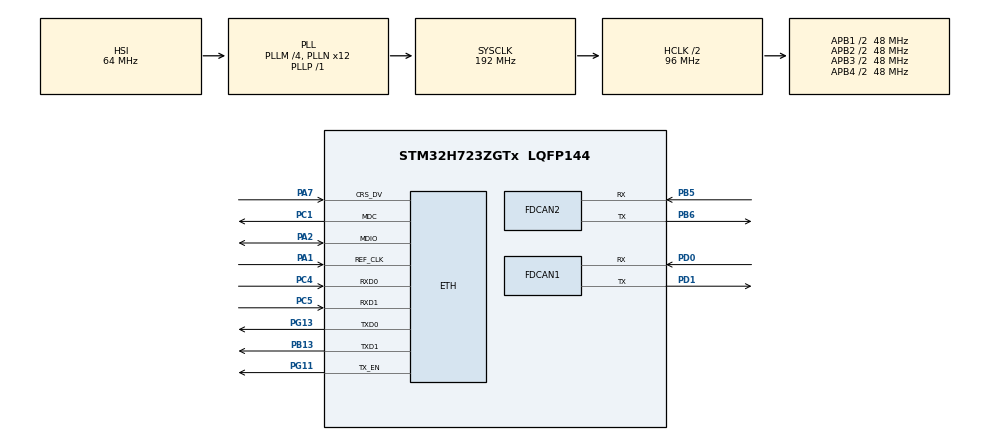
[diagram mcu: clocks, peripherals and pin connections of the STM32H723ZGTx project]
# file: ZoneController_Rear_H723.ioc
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CORTEX_M7.default_mode_Activation=1
ETH.MediaInterface=HAL_ETH_RMII_MODE
FDCAN1.AutoRetransmission=ENABLE
FDCAN1.CalculateBaudRateNominal=500000
FDCAN1.CalculateTimeBitNominal=2000
FDCAN1.CalculateTimeQuantumNominal=125.0
FDCAN1.DataPrescaler=10
FDCAN1.DataSyncJumpWidth=2
FDCAN1.DataTimeSeg1=13
FDCAN1.DataTimeSeg2=2
FDCAN1.Mode=FDCAN_MODE_NORMAL
FDCAN1.NominalPrescaler=6
FDCAN1.NominalSyncJumpWidth=2
FDCAN1.NominalTimeSeg1=13
FDCAN1.NominalTimeSeg2=2
FDCAN1.RxFifo0ElmtsNbr=8
FDCAN1.StdFiltersNbr=1
FDCAN1.TxFifoQueueElmtsNbr=8
FDCAN2.AutoRetransmission=ENABLE
FDCAN2.CalculateBaudRateNominal=250000
FDCAN2.CalculateTimeBitNominal=4000
FDCAN2.CalculateTimeQuantumNominal=250.0
FDCAN2.DataTimeSeg1=1
FDCAN2.MessageRAMOffset=128
FDCAN2.Mode=FDCAN_MODE_NORMAL
FDCAN2.NominalPrescaler=12
FDCAN2.NominalSyncJumpWidth=2
FDCAN2.NominalTimeSeg1=13
FDCAN2.NominalTimeSeg2=2
FDCAN2.RxFifo0ElmtsNbr=8
FDCAN2.StdFiltersNbr=1
FDCAN2.TxFifoQueueElmtsNbr=8
LWIP.BSP.number=1
LWIP.GATEWAY_ADDRESS=192.168.010.001
LWIP.IP_ADDRESS=192.168.010.020
LWIP.LWIP_DHCP=0
LWIP.NETMASK_ADDRESS=255.255.255.000
LWIP.Version=v2.2.1_Cube
LWIP0.BSP.STBoard=false
LWIP0.BSP.api=BSP_COMPONENT_DRIVER
LWIP0.BSP.component=LAN8742
LWIP0.BSP.instance=LAN8742
LWIP0.BSP.name=Driver_PHY
LWIP0.BSP.semaphore=S_LAN8742
LWIP0.BSP.solution=LAN8742
Mcu.Family=STM32H7
Mcu.Name=STM32H723ZGTx
Mcu.Package=LQFP144
NVIC.FDCAN1_IT0_IRQn=true\:0\:0\:false\:false\:true\:true\:true\:true
NVIC.FDCAN2_IT0_IRQn=true\:0\:0\:false\:false\:true\:true\:true\:true
NVIC.PriorityGroup=NVIC_PRIORITYGROUP_4
PA1.Mode=RMII
PA1.Signal=ETH_REF_CLK
PA13(JTMS/SWDIO).GPIO_Label=SWDIO
PA13(JTMS/SWDIO).Signal=DEBUG_JTMS-SWDIO
PA14(JTCK/SWCLK).GPIO_Label=SWCLK
PA14(JTCK/SWCLK).Signal=DEBUG_JTCK-SWCLK
PA2.Mode=RMII
PA2.Signal=ETH_MDIO
PA7.Mode=RMII
PA7.Signal=ETH_CRS_DV
PB13.Mode=RMII
PB13.Signal=ETH_TXD1
PB5.Mode=FDCAN_Activate
PB5.Signal=FDCAN2_RX
PB6.Mode=FDCAN_Activate
PB6.Signal=FDCAN2_TX
PC1.Mode=RMII
PC1.Signal=ETH_MDC
PC14-OSC32_IN.Signal=RCC_OSC32_IN
PC15-OSC32_OUT.Signal=RCC_OSC32_OUT
PC4.Mode=RMII
PC4.Signal=ETH_RXD0
PC5.Mode=RMII
PC5.Signal=ETH_RXD1
PD0.Mode=FDCAN_Activate
PD0.Signal=FDCAN1_RX
PD1.Mode=FDCAN_Activate
PD1.Signal=FDCAN1_TX
PD8.GPIO_Label=STLK_VCP_RX
PD8.Signal=USART3_TX
PD9.GPIO_Label=STLK_VCP_TX
PD9.Signal=USART3_RX
PG11.Mode=RMII
PG11.Signal=ETH_TX_EN
PG13.Mode=RMII
PG13.Signal=ETH_TXD0
ProjectManager.HeapSize=0x200
ProjectManager.StackSize=0x400
ProjectManager.TargetToolchain=STM32CubeIDE
RCC.ADCFreq_Value=608000000
RCC.APB1Freq_Value=48000000
RCC.APB2Freq_Value=48000000
RCC.APB3Freq_Value=48000000
RCC.APB4Freq_Value=48000000
RCC.CortexFreq_Value=192000000
RCC.D1PPRE=RCC_APB3_DIV2
RCC.D2PPRE1=RCC_APB1_DIV2
RCC.D2PPRE2=RCC_APB2_DIV2
RCC.D3PPRE=RCC_APB4_DIV2
RCC.DIVM1=4
RCC.DIVM2=1
RCC.DIVN1=12
RCC.DIVN2=19
RCC.DIVP1=1
RCC.DIVQ1=4
RCC.HCLKFreq_Value=96000000
RCC.HPRE=RCC_HCLK_DIV2
RCC.HSE_VALUE=8000000
RCC.PLLFRACN=0
RCC.SYSCLKFreq_VALUE=192000000
RCC.SYSCLKSource=RCC_SYSCLKSOURCE_PLLCLK
RCC.USBCLockSelection=RCC_USBCLKSOURCE_HSI48
RCC.USBFreq_Value=48000000
VP_LWIP_VS_Enabled.Mode=Enabled
VP_MEMORYMAP_VS_MEMORYMAP.Mode=CurAppReg
board=NUCLEO-H723ZG

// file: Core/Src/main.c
/* USER CODE BEGIN Header */
/**
  ******************************************************************************
  * @file           : main.c
  * @brief          : Main program body
  ******************************************************************************
  * @attention
  *
  * Copyright (c) 2026 STMicroelectronics.
  * All rights reserved.
  *
  * This software is licensed under terms that can be found in the LICENSE file
  * in the root directory of this software component.
  * If no LICENSE file comes with this software, it is provided AS-IS.
  *
  ******************************************************************************
  */
/* USER CODE END Header */
#include "main.h"
#include "fdcan.h"
#include "lwip.h"
#include "gpio.h"

/* USER CODE BEGIN PV */

/* -------------------------------------------------------------------------- */
/* FDCAN1: Classical CAN 500 kbps                                              */
/* H723 -> F446/PCAN: ID 0x101                                                 */
/* F446 echo response expected: ID 0x181                                       */
/* -------------------------------------------------------------------------- */
static FDCAN_TxHeaderTypeDef can500_tx_header;
static FDCAN_RxHeaderTypeDef can500_rx_header;
static uint8_t can500_tx_data[8];
static uint8_t can500_rx_data[8];

volatile uint32_t can500_next_counter = 0;
volatile uint32_t can500_last_sent_counter = 0;
volatile uint32_t can500_last_received_counter = 0;

volatile uint32_t can500_tx_count = 0;
volatile uint32_t can500_rx_count = 0;
volatile uint32_t can500_rx_ok_count = 0;
volatile uint32_t can500_rx_bad_count = 0;
volatile uint32_t can500_tx_busy_count = 0;
volatile uint32_t can500_tx_error_count = 0;
volatile uint32_t can500_last_error = 0;
volatile uint32_t can500_tx_fifo_free = 0;

volatile FDCAN_ErrorCountersTypeDef can500_error_counters;
volatile FDCAN_ProtocolStatusTypeDef can500_protocol_status;

static uint32_t can500_last_tx_tick = 0;

/* -------------------------------------------------------------------------- */
/* FDCAN2: Classical CAN 250 kbps                                              */
/* H723 -> F407/PCAN: ID 0x201                                                 */
/* F407 echo response expected: ID 0x281                                       */
/* -------------------------------------------------------------------------- */
static FDCAN_TxHeaderTypeDef can250_tx_header;
static FDCAN_RxHeaderTypeDef can250_rx_header;
static uint8_t can250_tx_data[8];
static uint8_t can250_rx_data[8];

volatile uint32_t can250_next_counter = 0;
volatile uint32_t can250_last_sent_counter = 0;
volatile uint32_t can250_last_received_counter = 0;

volatile uint32_t can250_tx_count = 0;
volatile uint32_t can250_rx_count = 0;
volatile uint32_t can250_rx_ok_count = 0;
volatile uint32_t can250_rx_bad_count = 0;
volatile uint32_t can250_tx_busy_count = 0;
volatile uint32_t can250_tx_error_count = 0;
volatile uint32_t can250_last_error = 0;
volatile uint32_t can250_tx_fifo_free = 0;

volatile FDCAN_ErrorCountersTypeDef can250_error_counters;
volatile FDCAN_ProtocolStatusTypeDef can250_protocol_status;

static uint32_t can250_last_tx_tick = 0;

/* -------------------------------------------------------------------------- */
/* H723 -> F446RE LED command over FDCAN2                                      */
/* Standard ID 0x310                                                          */
/* DATA[0] = left command, DATA[1] = right command, DATA[2] = brake command    */
/* -------------------------------------------------------------------------- */
static FDCAN_TxHeaderTypeDef led_cmd_tx_header;
static uint8_t led_cmd_tx_data[8];

volatile uint8_t led_auto_test_enable = 1U;
volatile uint8_t led_test_step = 1U;
volatile uint8_t led_left_command = 1U;
volatile uint8_t led_right_command = 0U;
volatile uint8_t led_brake_command = 0U;

volatile uint32_t led_cmd_tx_count = 0U;
volatile uint32_t led_cmd_tx_busy_count = 0U;
volatile uint32_t led_cmd_tx_error_count = 0U;
volatile uint32_t led_cmd_last_error = 0U;

static uint32_t led_cmd_last_tx_tick = 0U;
static uint32_t led_test_last_step_tick = 0U;

/* USER CODE END PV */

void SystemClock_Config(void);
static void MPU_Config(void);
/* USER CODE BEGIN PFP */
static void CAN500_Start(void);
static void CAN500_SendPing(void);

static void CAN250_Start(void);
static void CAN250_SendPing(void);

static void LED_CommandSetStep(uint8_t step);
static void LED_CommandSend(void);
static void LED_CommandUpdate(void);

static void CAN_UpdateDiagnostics(void);

static void CAN_WriteU32LE(uint8_t *data, uint32_t value);
static uint32_t CAN_ReadU32LE(const uint8_t *data);
static void EthernetMPU_Config(void);
/* USER CODE END PFP */

/* USER CODE BEGIN 0 */

#define CAN500_TX_PERIOD_MS       500U
#define CAN250_TX_PERIOD_MS       500U
#define CAN_TX_PHASE_OFFSET_MS    250U

#define LED_CMD_ID                0x310U
#define LED_CMD_TX_PERIOD_MS      100U
#define LED_TEST_STEP_PERIOD_MS   3000U
#define LED_TEST_STEP_COUNT       5U

/**
 * @brief Ethernet DMA와 LwIP 메모리가 위치하는 RAM_D2 전체를
 *        Normal, Shareable, Non-cacheable 영역으로 설정한다.
 *
 * RAM_D2:
 *   0x30000000 ~ 0x30007FFF (32 KB)
 *
 * CubeMX가 생성한 MPU Region 0은 그대로 두고 Region 1만 추가한다.
 */
static void EthernetMPU_Config(void)
{
    MPU_Region_InitTypeDef MPU_InitStruct = {0};

    HAL_MPU_Disable();

    MPU_InitStruct.Enable = MPU_REGION_ENABLE;
    MPU_InitStruct.Number = MPU_REGION_NUMBER1;
    MPU_InitStruct.BaseAddress = 0x30000000U;
    MPU_InitStruct.Size = MPU_REGION_SIZE_32KB;
    MPU_InitStruct.SubRegionDisable = 0x00U;
    MPU_InitStruct.TypeExtField = MPU_TEX_LEVEL1;
    MPU_InitStruct.AccessPermission = MPU_REGION_FULL_ACCESS;
    MPU_InitStruct.DisableExec = MPU_INSTRUCTION_ACCESS_DISABLE;
    MPU_InitStruct.IsShareable = MPU_ACCESS_SHAREABLE;
    MPU_InitStruct.IsCacheable = MPU_ACCESS_NOT_CACHEABLE;
    MPU_InitStruct.IsBufferable = MPU_ACCESS_NOT_BUFFERABLE;

    HAL_MPU_ConfigRegion(&MPU_InitStruct);
    HAL_MPU_Enable(MPU_PRIVILEGED_DEFAULT);
}

/**
 * @brief uint32_t 값을 Little Endian 형식으로 4바이트에 저장
 */
static void CAN_WriteU32LE(uint8_t *data, uint32_t value)
{
    data[0] = (uint8_t)(value & 0xFFU);
    data[1] = (uint8_t)((value >> 8) & 0xFFU);
    data[2] = (uint8_t)((value >> 16) & 0xFFU);
    data[3] = (uint8_t)((value >> 24) & 0xFFU);
}

/**
 * @brief Little Endian 형식의 4바이트를 uint32_t로 변환
 */
static uint32_t CAN_ReadU32LE(const uint8_t *data)
{
    return ((uint32_t)data[0]) |
           ((uint32_t)data[1] << 8) |
           ((uint32_t)data[2] << 16) |
           ((uint32_t)data[3] << 24);
}

/**
 * @brief FDCAN1 Classical CAN 500 kbps 시작
 *
 * 송신:
 *   Standard ID 0x101
 *   A5 5A 01 01 + 32-bit counter
 *
 * 수신:
 *   Standard ID 0x181
 *   5A A5 01 02 + same counter
 */
static void CAN500_Start(void)
{
    FDCAN_FilterTypeDef filter = {0};

    filter.IdType = FDCAN_STANDARD_ID;
    filter.FilterIndex = 0;
    filter.FilterType = FDCAN_FILTER_MASK;
    filter.FilterConfig = FDCAN_FILTER_TO_RXFIFO0;
    filter.FilterID1 = 0x181;
    filter.FilterID2 = 0x7FF;

    if (HAL_FDCAN_ConfigFilter(&hfdcan1, &filter) != HAL_OK)
    {
        Error_Handler();
    }

    if (HAL_FDCAN_ConfigGlobalFilter(
            &hfdcan1,
            FDCAN_REJECT,
            FDCAN_REJECT,
            FDCAN_REJECT_REMOTE,
            FDCAN_REJECT_REMOTE) != HAL_OK)
    {
        Error_Handler();
    }

    if (HAL_FDCAN_ActivateNotification(
            &hfdcan1,
            FDCAN_IT_RX_FIFO0_NEW_MESSAGE,
            0U) != HAL_OK)
    {
        Error_Handler();
    }

    if (HAL_FDCAN_Start(&hfdcan1) != HAL_OK)
    {
        Error_Handler();
    }

    can500_tx_header.Identifier = 0x101;
    can500_tx_header.IdType = FDCAN_STANDARD_ID;
    can500_tx_header.TxFrameType = FDCAN_DATA_FRAME;
    can500_tx_header.DataLength = FDCAN_DLC_BYTES_8;
    can500_tx_header.ErrorStateIndicator = FDCAN_ESI_ACTIVE;
    can500_tx_header.BitRateSwitch = FDCAN_BRS_OFF;
    can500_tx_header.FDFormat = FDCAN_CLASSIC_CAN;
    can500_tx_header.TxEventFifoControl = FDCAN_NO_TX_EVENTS;
    can500_tx_header.MessageMarker = 0U;
}

/**
 * @brief FDCAN1 500 kbps Ping 송신
 */
static void CAN500_SendPing(void)
{
    uint32_t counter;

    can500_tx_fifo_free = HAL_FDCAN_GetTxFifoFreeLevel(&hfdcan1);

    if (can500_tx_fifo_free == 0U)
    {
        can500_tx_busy_count++;
        can500_last_error = HAL_FDCAN_GetError(&hfdcan1);
        return;
    }

    counter = can500_next_counter++;

    can500_tx_data[0] = 0xA5;
    can500_tx_data[1] = 0x5A;
    can500_tx_data[2] = 0x01;
    can500_tx_data[3] = 0x01;
    CAN_WriteU32LE(&can500_tx_data[4], counter);

    if (HAL_FDCAN_AddMessageToTxFifoQ(
            &hfdcan1,
            &can500_tx_header,
            can500_tx_data) == HAL_OK)
    {
        can500_last_sent_counter = counter;
        can500_tx_count++;
    }
    else
    {
        can500_tx_error_count++;
        can500_last_error = HAL_FDCAN_GetError(&hfdcan1);
    }
}

/**
 * @brief FDCAN2 Classical CAN 250 kbps 시작
 *
 * 송신:
 *   Standard ID 0x201
 *   A5 5A 02 01 + 32-bit counter
 *
 * 수신:
 *   Standard ID 0x281
 *   5A A5 02 02 + same counter
 */
static void CAN250_Start(void)
{
    FDCAN_FilterTypeDef filter = {0};

    filter.IdType = FDCAN_STANDARD_ID;
    filter.FilterIndex = 0;
    filter.FilterType = FDCAN_FILTER_MASK;
    filter.FilterConfig = FDCAN_FILTER_TO_RXFIFO0;
    filter.FilterID1 = 0x281;
    filter.FilterID2 = 0x7FF;

    if (HAL_FDCAN_ConfigFilter(&hfdcan2, &filter) != HAL_OK)
    {
        Error_Handler();
    }

    if (HAL_FDCAN_ConfigGlobalFilter(
            &hfdcan2,
            FDCAN_REJECT,
            FDCAN_REJECT,
            FDCAN_REJECT_REMOTE,
            FDCAN_REJECT_REMOTE) != HAL_OK)
    {
        Error_Handler();
    }

    if (HAL_FDCAN_ActivateNotification(
            &hfdcan2,
            FDCAN_IT_RX_FIFO0_NEW_MESSAGE,
            0U) != HAL_OK)
    {
        Error_Handler();
    }

    if (HAL_FDCAN_Start(&hfdcan2) != HAL_OK)
    {
        Error_Handler();
    }

    can250_tx_header.Identifier = 0x201;
    can250_tx_header.IdType = FDCAN_STANDARD_ID;
    can250_tx_header.TxFrameType = FDCAN_DATA_FRAME;
    can250_tx_header.DataLength = FDCAN_DLC_BYTES_8;
    can250_tx_header.ErrorStateIndicator = FDCAN_ESI_ACTIVE;
    can250_tx_header.BitRateSwitch = FDCAN_BRS_OFF;
    can250_tx_header.FDFormat = FDCAN_CLASSIC_CAN;
    can250_tx_header.TxEventFifoControl = FDCAN_NO_TX_EVENTS;
    can250_tx_header.MessageMarker = 0U;

    /* H723 -> F446RE LED 명령 프레임 */
    led_cmd_tx_header.Identifier = LED_CMD_ID;
    led_cmd_tx_header.IdType = FDCAN_STANDARD_ID;
    led_cmd_tx_header.TxFrameType = FDCAN_DATA_FRAME;
    led_cmd_tx_header.DataLength = FDCAN_DLC_BYTES_8;
    led_cmd_tx_header.ErrorStateIndicator = FDCAN_ESI_ACTIVE;
    led_cmd_tx_header.BitRateSwitch = FDCAN_BRS_OFF;
    led_cmd_tx_header.FDFormat = FDCAN_CLASSIC_CAN;
    led_cmd_tx_header.TxEventFifoControl = FDCAN_NO_TX_EVENTS;
    led_cmd_tx_header.MessageMarker = 0U;
}

/**
 * @brief FDCAN2 250 kbps Ping 송신
 */
static void CAN250_SendPing(void)
{
    uint32_t counter;

    can250_tx_fifo_free = HAL_FDCAN_GetTxFifoFreeLevel(&hfdcan2);

    if (can250_tx_fifo_free == 0U)
    {
        can250_tx_busy_count++;
        can250_last_error = HAL_FDCAN_GetError(&hfdcan2);
        return;
    }

    counter = can250_next_counter++;

    can250_tx_data[0] = 0xA5;
    can250_tx_data[1] = 0x5A;
    can250_tx_data[2] = 0x02;
    can250_tx_data[3] = 0x01;
    CAN_WriteU32LE(&can250_tx_data[4], counter);

    if (HAL_FDCAN_AddMessageToTxFifoQ(
            &hfdcan2,
            &can250_tx_header,
            can250_tx_data) == HAL_OK)
    {
        can250_last_sent_counter = counter;
        can250_tx_count++;
    }
    else
    {
        can250_tx_error_count++;
        can250_last_error = HAL_FDCAN_GetError(&hfdcan2);
    }
}

/**
 * @brief 자동 LED 시험 단계에 맞춰 명령값 설정
 *
 * step 0: 모두 OFF
 * step 1: 왼쪽 방향지시등 활성화(F446RE에서 500 ms 점멸)
 * step 2: 오른쪽 방향지시등 활성화(F446RE에서 500 ms 점멸)
 * step 3: 브레이크등 ON
 * step 4: 왼쪽 + 오른쪽 + 브레이크 활성화
 */
static void LED_CommandSetStep(uint8_t step)
{
    led_test_step = (uint8_t)(step % LED_TEST_STEP_COUNT);

    switch (led_test_step)
    {
        case 0U:
            led_left_command = 0U;
            led_right_command = 0U;
            led_brake_command = 0U;
            break;

        case 1U:
            led_left_command = 1U;
            led_right_command = 0U;
            led_brake_command = 0U;
            break;

        case 2U:
            led_left_command = 0U;
            led_right_command = 1U;
            led_brake_command = 0U;
            break;

        case 3U:
            led_left_command = 0U;
            led_right_command = 0U;
            led_brake_command = 1U;
            break;

        default: /* step 4 */
            led_left_command = 1U;
            led_right_command = 1U;
            led_brake_command = 1U;
            break;
    }
}

/**
 * @brief LED 명령 0x310 송신
 *
 * byte 0: left  (0/1)
 * byte 1: right (0/1)
 * byte 2: brake (0/1)
 * byte 3: 현재 시험 step (디버깅용, F446RE에서는 무시)
 * byte 4~7: 0
 */
static void LED_CommandSend(void)
{
    led_cmd_tx_data[0] = (led_left_command != 0U) ? 1U : 0U;
    led_cmd_tx_data[1] = (led_right_command != 0U) ? 1U : 0U;
    led_cmd_tx_data[2] = (led_brake_command != 0U) ? 1U : 0U;
    led_cmd_tx_data[3] = led_test_step;
    led_cmd_tx_data[4] = 0U;
    led_cmd_tx_data[5] = 0U;
    led_cmd_tx_data[6] = 0U;
    led_cmd_tx_data[7] = 0U;

    if (HAL_FDCAN_GetTxFifoFreeLevel(&hfdcan2) == 0U)
    {
        led_cmd_tx_busy_count++;
        led_cmd_last_error = HAL_FDCAN_GetError(&hfdcan2);
        return;
    }

    if (HAL_FDCAN_AddMessageToTxFifoQ(
            &hfdcan2,
            &led_cmd_tx_header,
            led_cmd_tx_data) == HAL_OK)
    {
        led_cmd_tx_count++;
    }
    else
    {
        led_cmd_tx_error_count++;
        led_cmd_last_error = HAL_FDCAN_GetError(&hfdcan2);
    }
}

/**
 * @brief LED 자동 시험 패턴 갱신 및 주기 송신
 *
 * led_auto_test_enable = 1: 3초마다 시험 단계 자동 변경
 * led_auto_test_enable = 0: Live Expressions에서 세 command 값을 수동 변경
 */
static void LED_CommandUpdate(void)
{
    uint32_t now = HAL_GetTick();

    if ((led_auto_test_enable != 0U) &&
        ((now - led_test_last_step_tick) >= LED_TEST_STEP_PERIOD_MS))
    {
        led_test_last_step_tick = now;
        LED_CommandSetStep((uint8_t)(led_test_step + 1U));
    }

    if ((now - led_cmd_last_tx_tick) >= LED_CMD_TX_PERIOD_MS)
    {
        led_cmd_last_tx_tick = now;
        LED_CommandSend();
    }
}

/**
 * @brief 두 FDCAN 인스턴스의 하드웨어 상태를 디버거용 변수에 갱신
 */
static void CAN_UpdateDiagnostics(void)
{
    can500_tx_fifo_free = HAL_FDCAN_GetTxFifoFreeLevel(&hfdcan1);
    can250_tx_fifo_free = HAL_FDCAN_GetTxFifoFreeLevel(&hfdcan2);

    if (HAL_FDCAN_GetErrorCounters(
            &hfdcan1,
            (FDCAN_ErrorCountersTypeDef *)&can500_error_counters) != HAL_OK)
    {
        can500_last_error = HAL_FDCAN_GetError(&hfdcan1);
    }

    if (HAL_FDCAN_GetProtocolStatus(
            &hfdcan1,
            (FDCAN_ProtocolStatusTypeDef *)&can500_protocol_status) != HAL_OK)
    {
        can500_last_error = HAL_FDCAN_GetError(&hfdcan1);
    }

    if (HAL_FDCAN_GetErrorCounters(
            &hfdcan2,
            (FDCAN_ErrorCountersTypeDef *)&can250_error_counters) != HAL_OK)
    {
        can250_last_error = HAL_FDCAN_GetError(&hfdcan2);
    }

    if (HAL_FDCAN_GetProtocolStatus(
            &hfdcan2,
            (FDCAN_ProtocolStatusTypeDef *)&can250_protocol_status) != HAL_OK)
    {
        can250_last_error = HAL_FDCAN_GetError(&hfdcan2);
    }
}

/* USER CODE END 0 */

int main(void)
{

  /* MPU Configuration--------------------------------------------------------*/
  MPU_Config();

  /* MCU Configuration--------------------------------------------------------*/

  /* Reset of all peripherals, Initializes the Flash interface and the Systick. */
  HAL_Init();
  /* USER CODE BEGIN Init */

  EthernetMPU_Config();
  /* USER CODE END Init */

  /* Configure the system clock */
  SystemClock_Config();

  /* Initialize all configured peripherals */
  MX_GPIO_Init();
  MX_FDCAN1_Init();
  MX_FDCAN2_Init();
  MX_LWIP_Init();
  /* USER CODE BEGIN 2 */

  CAN500_Start();
  CAN250_Start();
  {
      uint32_t start_tick = HAL_GetTick();

      /*
       * 두 버스 모두 500 ms 주기이지만 250 ms 위상차를 둔다.
       * 동시에 실행해도 문제는 없지만 PCAN에서 구분하기 쉽게 하기 위함이다.
       */
      can500_last_tx_tick = start_tick;
      can250_last_tx_tick = start_tick - CAN_TX_PHASE_OFFSET_MS;

      LED_CommandSetStep(1U);
      led_test_last_step_tick = start_tick;
      led_cmd_last_tx_tick = start_tick - LED_CMD_TX_PERIOD_MS;
  }

  /* USER CODE END 2 */

  /* Infinite loop */
  /* USER CODE BEGIN WHILE */
  while (1)
  {
      uint32_t now = HAL_GetTick();

      CAN_UpdateDiagnostics();

      if ((now - can500_last_tx_tick) >= CAN500_TX_PERIOD_MS)
      {
          can500_last_tx_tick = now;
          CAN500_SendPing();
      }

      if ((now - can250_last_tx_tick) >= CAN250_TX_PERIOD_MS)
      {
          can250_last_tx_tick = now;
          CAN250_SendPing();
      }

      LED_CommandUpdate();

      /* Standalone(NO_SYS=1) LwIP packet, timeout, link processing */
      MX_LWIP_Process();
/* USER CODE END WHILE */

  }
}

void SystemClock_Config(void)
{
  RCC_OscInitTypeDef RCC_OscInitStruct = {0};
  RCC_ClkInitTypeDef RCC_ClkInitStruct = {0};

  /** Supply configuration update enable
  */
  HAL_PWREx_ConfigSupply(PWR_LDO_SUPPLY);

  /** Configure the main internal regulator output voltage
  */
  __HAL_PWR_VOLTAGESCALING_CONFIG(PWR_REGULATOR_VOLTAGE_SCALE2);

  while(!__HAL_PWR_GET_FLAG(PWR_FLAG_VOSRDY)) {}

  /** Initializes the RCC Oscillators according to the specified parameters
  * in the RCC_OscInitTypeDef structure.
  */
  RCC_OscInitStruct.OscillatorType = RCC_OSCILLATORTYPE_HSI;
  RCC_OscInitStruct.HSIState = RCC_HSI_DIV1;
  RCC_OscInitStruct.HSICalibrationValue = 64;
  RCC_OscInitStruct.PLL.PLLState = RCC_PLL_ON;
  RCC_OscInitStruct.PLL.PLLSource = RCC_PLLSOURCE_HSI;
  RCC_OscInitStruct.PLL.PLLM = 4;
  RCC_OscInitStruct.PLL.PLLN = 12;
  RCC_OscInitStruct.PLL.PLLP = 1;
  RCC_OscInitStruct.PLL.PLLQ = 4;
  RCC_OscInitStruct.PLL.PLLR = 2;
  RCC_OscInitStruct.PLL.PLLRGE = RCC_PLL1VCIRANGE_3;
  RCC_OscInitStruct.PLL.PLLVCOSEL = RCC_PLL1VCOWIDE;
  RCC_OscInitStruct.PLL.PLLFRACN = 0;
  if (HAL_RCC_OscConfig(&RCC_OscInitStruct) != HAL_OK)
  {
    Error_Handler();
  }

  /** Initializes the CPU, AHB and APB buses clocks
  */
  RCC_ClkInitStruct.ClockType = RCC_CLOCKTYPE_HCLK|RCC_CLOCKTYPE_SYSCLK
                              |RCC_CLOCKTYPE_PCLK1|RCC_CLOCKTYPE_PCLK2
                              |RCC_CLOCKTYPE_D3PCLK1|RCC_CLOCKTYPE_D1PCLK1;
  RCC_ClkInitStruct.SYSCLKSource = RCC_SYSCLKSOURCE_PLLCLK;
  RCC_ClkInitStruct.SYSCLKDivider = RCC_SYSCLK_DIV1;
  RCC_ClkInitStruct.AHBCLKDivider = RCC_HCLK_DIV2;
  RCC_ClkInitStruct.APB3CLKDivider = RCC_APB3_DIV2;
  RCC_ClkInitStruct.APB1CLKDivider = RCC_APB1_DIV2;
  RCC_ClkInitStruct.APB2CLKDivider = RCC_APB2_DIV2;
  RCC_ClkInitStruct.APB4CLKDivider = RCC_APB4_DIV2;

  if (HAL_RCC_ClockConfig(&RCC_ClkInitStruct, FLASH_LATENCY_1) != HAL_OK)
  {
    Error_Handler();
  }
}

/* USER CODE BEGIN 4 */

/**
 * @brief FDCAN RX FIFO0 새 메시지 수신 콜백
 */
void HAL_FDCAN_RxFifo0Callback(
    FDCAN_HandleTypeDef *hfdcan,
    uint32_t RxFifo0ITs)
{
    if ((RxFifo0ITs & FDCAN_IT_RX_FIFO0_NEW_MESSAGE) == 0U)
    {
        return;
    }

    if (hfdcan->Instance == FDCAN1)
    {
        while (HAL_FDCAN_GetRxFifoFillLevel(
                   hfdcan,
                   FDCAN_RX_FIFO0) > 0U)
        {
            if (HAL_FDCAN_GetRxMessage(
                    hfdcan,
                    FDCAN_RX_FIFO0,
                    &can500_rx_header,
                    can500_rx_data) != HAL_OK)
            {
                can500_rx_bad_count++;
                can500_last_error = HAL_FDCAN_GetError(hfdcan);
                return;
            }

            can500_rx_count++;

            if ((can500_rx_header.IdType == FDCAN_STANDARD_ID) &&
                (can500_rx_header.Identifier == 0x181) &&
                (can500_rx_header.RxFrameType == FDCAN_DATA_FRAME) &&
                (can500_rx_header.DataLength == FDCAN_DLC_BYTES_8) &&
                (can500_rx_data[0] == 0x5A) &&
                (can500_rx_data[1] == 0xA5) &&
                (can500_rx_data[2] == 0x01) &&
                (can500_rx_data[3] == 0x02))
            {
                can500_last_received_counter =
                    CAN_ReadU32LE(&can500_rx_data[4]);

                if (can500_last_received_counter ==
                    can500_last_sent_counter)
                {
                    can500_rx_ok_count++;
                }
                else
                {
                    can500_rx_bad_count++;
                }
            }
            else
            {
                can500_rx_bad_count++;
            }
        }
    }
    else if (hfdcan->Instance == FDCAN2)
    {
        while (HAL_FDCAN_GetRxFifoFillLevel(
                   hfdcan,
                   FDCAN_RX_FIFO0) > 0U)
        {
            if (HAL_FDCAN_GetRxMessage(
                    hfdcan,
                    FDCAN_RX_FIFO0,
                    &can250_rx_header,
                    can250_rx_data) != HAL_OK)
            {
                can250_rx_bad_count++;
                can250_last_error = HAL_FDCAN_GetError(hfdcan);
                return;
            }

            can250_rx_count++;

            if ((can250_rx_header.IdType == FDCAN_STANDARD_ID) &&
                (can250_rx_header.Identifier == 0x281) &&
                (can250_rx_header.RxFrameType == FDCAN_DATA_FRAME) &&
                (can250_rx_header.DataLength == FDCAN_DLC_BYTES_8) &&
                (can250_rx_data[0] == 0x5A) &&
                (can250_rx_data[1] == 0xA5) &&
                (can250_rx_data[2] == 0x02) &&
                (can250_rx_data[3] == 0x02))
            {
                can250_last_received_counter =
                    CAN_ReadU32LE(&can250_rx_data[4]);

                if (can250_last_received_counter ==
                    can250_last_sent_counter)
                {
                    can250_rx_ok_count++;
                }
                else
                {
                    can250_rx_bad_count++;
                }
            }
            else
            {
                can250_rx_bad_count++;
            }
        }
    }
}

/**
 * @brief FDCAN 오류 콜백
 */
void HAL_FDCAN_ErrorCallback(FDCAN_HandleTypeDef *hfdcan)
{
    if (hfdcan->Instance == FDCAN1)
    {
        can500_last_error = HAL_FDCAN_GetError(hfdcan);
    }
    else if (hfdcan->Instance == FDCAN2)
    {
        can250_last_error = HAL_FDCAN_GetError(hfdcan);
    }
}

/* USER CODE END 4 */

 /* MPU Configuration */

void MPU_Config(void)
{
  MPU_Region_InitTypeDef MPU_InitStruct = {0};

  /* Disables the MPU */
  HAL_MPU_Disable();

  /** Initializes and configures the Region and the memory to be protected
  */
  MPU_InitStruct.Enable = MPU_REGION_ENABLE;
  MPU_InitStruct.Number = MPU_REGION_NUMBER0;
  MPU_InitStruct.BaseAddress = 0x0;
  MPU_InitStruct.Size = MPU_REGION_SIZE_4GB;
  MPU_InitStruct.SubRegionDisable = 0x87;
  MPU_InitStruct.TypeExtField = MPU_TEX_LEVEL0;
  MPU_InitStruct.AccessPermission = MPU_REGION_NO_ACCESS;
  MPU_InitStruct.DisableExec = MPU_INSTRUCTION_ACCESS_DISABLE;
  MPU_InitStruct.IsShareable = MPU_ACCESS_SHAREABLE;
  MPU_InitStruct.IsCacheable = MPU_ACCESS_NOT_CACHEABLE;
  MPU_InitStruct.IsBufferable = MPU_ACCESS_NOT_BUFFERABLE;

  HAL_MPU_ConfigRegion(&MPU_InitStruct);
  /* Enables the MPU */
  HAL_MPU_Enable(MPU_PRIVILEGED_DEFAULT);

}

void Error_Handler(void)
{
  /* USER CODE BEGIN Error_Handler_Debug */
  /* User can add an error indication here if needed. */
  __disable_irq();
  while (1)
  {
  }
  /* USER CODE END Error_Handler_Debug */
}
